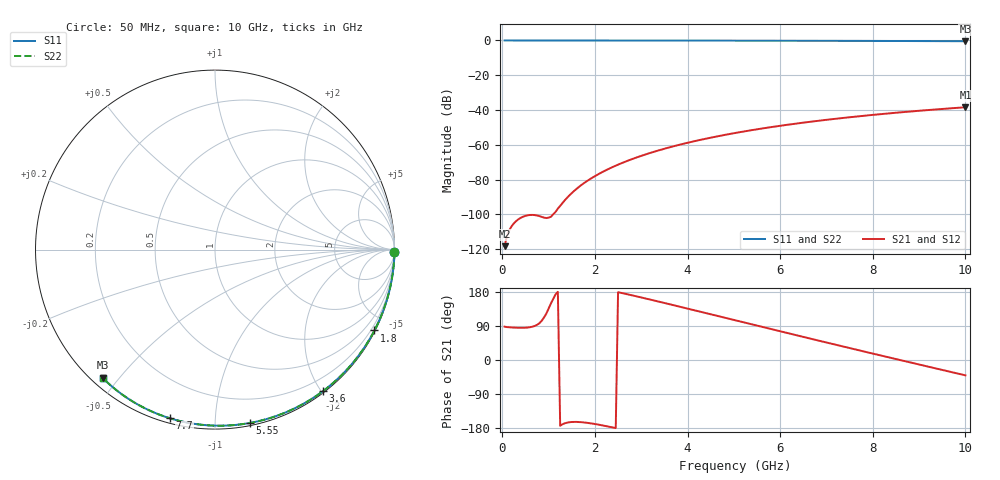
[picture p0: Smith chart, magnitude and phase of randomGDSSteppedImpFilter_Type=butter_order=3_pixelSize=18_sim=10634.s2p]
! freq	dB(S11)	phase(S11)	dB(S12)	phase(S12)
!  dB(S21)	phase(S21)	dB(S22)	phase(S22)
!S-par simulation data
#  GHz  S  DB  R 50
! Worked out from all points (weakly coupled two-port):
!   200 points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, 50 MHz to 10 GHz, reference 50 ohm
!   highest |S21| = -38.43 dB at 10 GHz (marker M1); lowest = -118.3 dB at 50 MHz (marker M2)
!   lowest |S11| = -0.4 dB at 10 GHz (marker M3), VSWR 39.13, Z = 1.54 - j22.6 ohm
!   |S11| at or under -10 dB: nowhere
!   |S22| runs from -0.4 to 0.0 dB; largest |S21 - S12| = 0
!   S11 on the Smith chart (normalised r, x): 50 MHz: open; 1.8 GHz: 0.04, -4.18; 3.6 GHz: 0.02, -2.02; 5.55 GHz: 0.02, -1.22; 7.7 GHz: 0.02, -0.77; 10 GHz: 0.03, -0.45
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0.05  -0.00 -0.8  -118.34 87.9  -118.34 87.9  -0.00 -0.8
0.9  -0.02 -13.6  -101.90 112.1  -101.90 112.1  -0.02 -13.6
1.75  -0.03 -26.2  -82.33 -164.6  -82.33 -164.6  -0.03 -26.2
1.8  -0.03 -26.9  -81.40 -165.3  -81.40 -165.3  -0.03 -26.9
1.85  -0.04 -27.6  -80.51 -166.1  -80.51 -166.1  -0.04 -27.6
1.9  -0.04 -28.4  -79.65 -167.0  -79.65 -167.0  -0.04 -28.4
2.05  -0.04 -30.6  -77.28 -170.0  -77.28 -170.0  -0.04 -30.6
2.25  -0.04 -33.5  -74.48 -174.6  -74.48 -174.6  -0.04 -33.5
2.45  -0.05 -36.4  -72.01 -179.7  -72.01 -179.7  -0.05 -36.4
2.65  -0.05 -39.2  -69.79 174.9  -69.79 174.9  -0.05 -39.2
3  -0.06 -44.2  -66.38 165.1  -66.38 165.1  -0.06 -44.2
3.4  -0.07 -49.8  -63.05 153.5  -63.05 153.5  -0.07 -49.8
3.6  -0.07 -52.6  -61.56 147.6  -61.56 147.6  -0.07 -52.6
4.3  -0.09 -62.2  -57.05 126.7  -57.05 126.7  -0.09 -62.2
5.05  -0.11 -72.1  -53.12 104.2  -53.12 104.2  -0.11 -72.1
5.55  -0.13 -78.6  -50.89 89.2  -50.89 89.2  -0.13 -78.6
6.1  -0.15 -85.5  -48.71 72.8  -48.71 72.8  -0.15 -85.5
6.7  -0.18 -92.9  -46.61 55.0  -46.61 55.0  -0.18 -92.9
7.7  -0.24 -104.9  -43.61 25.6  -43.61 25.6  -0.24 -104.9
8.35  -0.29 -112.5  -41.94 6.8  -41.94 6.8  -0.29 -112.5
9.15  -0.36 -121.7  -40.12 -16.2  -40.12 -16.2  -0.36 -121.7
10  -0.44 -131.3  -38.43 -40.5  -38.43 -40.5  -0.44 -131.3
